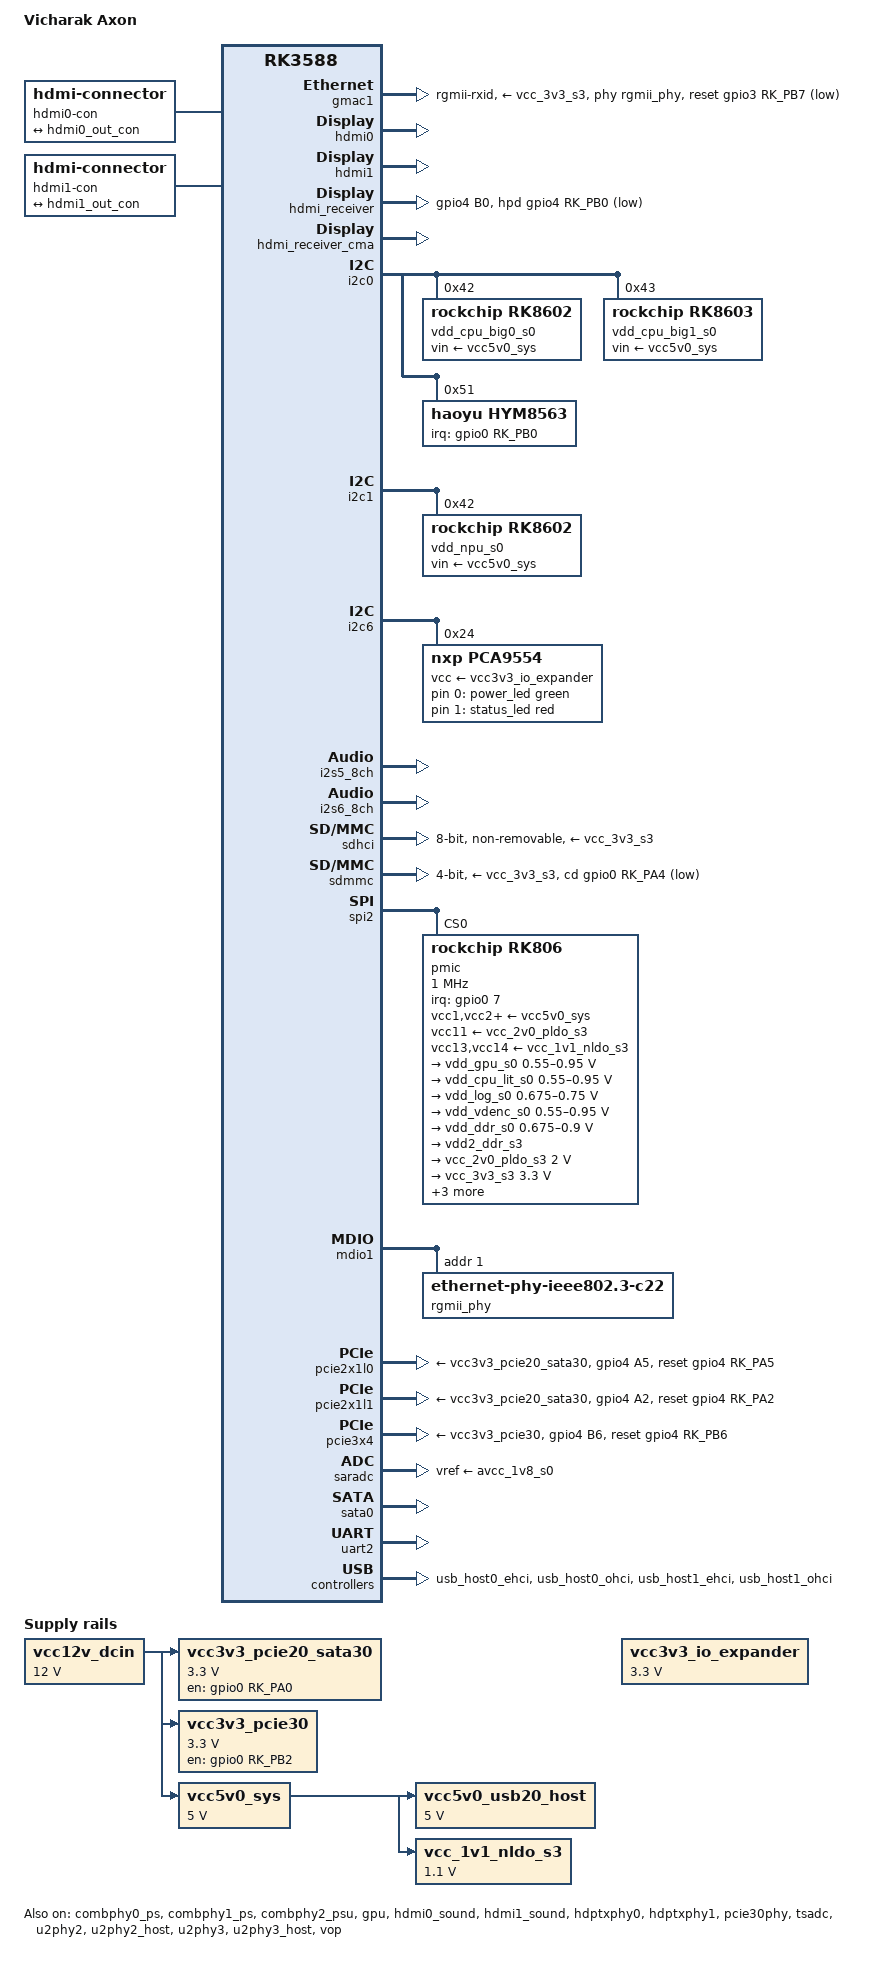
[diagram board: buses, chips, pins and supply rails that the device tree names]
// SPDX-License-Identifier: (GPL-2.0+ OR MIT)

/dts-v1/;

#include <dt-bindings/gpio/gpio.h>
#include <dt-bindings/input/linux-event-codes.h>
#include <dt-bindings/leds/common.h>
#include <dt-bindings/pinctrl/rockchip.h>
#include <dt-bindings/soc/rockchip,vop2.h>
#include "rk3588.dtsi"

/ {
	model = "Vicharak Axon";
	compatible = "vicharak,axon", "rockchip,rk3588";

	aliases {
		mmc0 = &sdmmc;
		mmc1 = &sdhci;
		serial2 = &uart2;
	};

	chosen {
		stdout-path = "serial2:1500000n8";
	};

	hdmi0-con {
		compatible = "hdmi-connector";
		type = "a";

		port {
			hdmi0_con_in: endpoint {
				remote-endpoint = <&hdmi0_out_con>;
			};
		};
	};

	hdmi1-con {
		compatible = "hdmi-connector";
		type = "a";

		port {
			hdmi1_con_in: endpoint {
				remote-endpoint = <&hdmi1_out_con>;
			};
		};
	};

	leds {
		compatible = "gpio-leds";

		power_led: led-0 {
			color = <LED_COLOR_ID_GREEN>;
			function = LED_FUNCTION_STATUS;
			gpios = <&pca9554 0 GPIO_ACTIVE_HIGH>;
			linux,default-trigger = "heartbeat";
		};

		status_led: led-1 {
			color = <LED_COLOR_ID_RED>;
			function = LED_FUNCTION_STATUS;
			gpios = <&pca9554 1 GPIO_ACTIVE_HIGH>;
			linux,default-trigger = "none";
		};
	};

	vcc12v_dcin: regulator-vcc12v-dcin {
		compatible = "regulator-fixed";
		regulator-name = "vcc12v_dcin";
		regulator-always-on;
		regulator-boot-on;
		regulator-min-microvolt = <12000000>;
		regulator-max-microvolt = <12000000>;
	};

	vcc3v3_io_expander: regulator-vcc3v3-io-expander {
		compatible = "regulator-fixed";
		regulator-name = "vcc3v3_io_expander";
		regulator-boot-on;
		regulator-always-on;
		regulator-min-microvolt = <3300000>;
		regulator-max-microvolt = <3300000>;
	};

	vcc3v3_pcie20_sata30: regulator-vcc3v3-pcie20-sata30 {
		compatible = "regulator-fixed";
		enable-active-high;
		gpios = <&gpio0 RK_PA0 GPIO_ACTIVE_HIGH>;
		regulator-name = "vcc3v3_pcie20_sata30";
		regulator-boot-on;
		regulator-always-on;
		regulator-max-microvolt = <3300000>;
		regulator-min-microvolt = <3300000>;
		vin-supply = <&vcc12v_dcin>;
	};

	vcc3v3_pcie30: regulator-vcc3v3-pcie30 {
		compatible = "regulator-fixed";
		enable-active-high;
		gpios = <&gpio0 RK_PB2 GPIO_ACTIVE_HIGH>;
		regulator-name = "vcc3v3_pcie30";
		regulator-boot-on;
		regulator-always-on;
		regulator-min-microvolt = <3300000>;
		regulator-max-microvolt = <3300000>;
		vin-supply = <&vcc12v_dcin>;
	};

	vcc5v0_sys: regulator-vcc5v0-sys {
		compatible = "regulator-fixed";
		regulator-name = "vcc5v0_sys";
		regulator-always-on;
		regulator-boot-on;
		regulator-min-microvolt = <5000000>;
		regulator-max-microvolt = <5000000>;
		vin-supply = <&vcc12v_dcin>;
	};

	vcc5v0_usb20_host: regulator-vcc5v0-usb20-host {
		compatible = "regulator-fixed";
		regulator-name = "vcc5v0_usb20_host";
		regulator-boot-on;
		regulator-always-on;
		regulator-min-microvolt = <5000000>;
		regulator-max-microvolt = <5000000>;
		vin-supply = <&vcc5v0_sys>;
	};

	vcc_1v1_nldo_s3: regulator-vcc-1v1-nldo-s3 {
		compatible = "regulator-fixed";
		regulator-name = "vcc_1v1_nldo_s3";
		regulator-always-on;
		regulator-boot-on;
		regulator-min-microvolt = <1100000>;
		regulator-max-microvolt = <1100000>;
		vin-supply = <&vcc5v0_sys>;
	};
};

&combphy0_ps {
	status = "okay";
};

&combphy1_ps {
	status = "okay";
};

&combphy2_psu {
	status = "okay";
};

&cpu_b0 {
	cpu-supply = <&vdd_cpu_big0_s0>;
};

&cpu_b1 {
	cpu-supply = <&vdd_cpu_big0_s0>;
};

&cpu_b2 {
	cpu-supply = <&vdd_cpu_big1_s0>;
};

&cpu_b3 {
	cpu-supply = <&vdd_cpu_big1_s0>;
};

&cpu_l0 {
	cpu-supply = <&vdd_cpu_lit_s0>;
};

&cpu_l1 {
	cpu-supply = <&vdd_cpu_lit_s0>;
};

&cpu_l2 {
	cpu-supply = <&vdd_cpu_lit_s0>;
};

&cpu_l3 {
	cpu-supply = <&vdd_cpu_lit_s0>;
};

&gmac1 {
	clock_in_out = "output";
	phy-handle = <&rgmii_phy>;
	phy-mode = "rgmii-rxid";
	phy-supply = <&vcc_3v3_s3>;
	pinctrl-0 = <&gmac1_rgmii_bus
				&gmac1_rgmii_clk
				&gmac1_rx_bus2
				&gmac1_tx_bus2
				&gmac1_miim>;
	pinctrl-names = "default";
	snps,reset-active-low;
	snps,reset-delays-us = <0 20000 100000>;
	snps,reset-gpio = <&gpio3 RK_PB7 GPIO_ACTIVE_LOW>;
	tx_delay = <0x43>;
	status = "okay";
};

&gpu {
	mali-supply = <&vdd_gpu_s0>;
	status = "okay";
};

&hdmi0 {
	status = "okay";
};

&hdmi0_in {
	hdmi0_in_vp0: endpoint {
		remote-endpoint = <&vp0_out_hdmi0>;
	};
};

&hdmi0_out {
	hdmi0_out_con: endpoint {
		remote-endpoint = <&hdmi0_con_in>;
	};
};

&hdmi0_sound {
	status = "okay";
};

&hdmi1 {
	status = "okay";
};

&hdmi1_in {
	hdmi1_in_vp1: endpoint {
		remote-endpoint = <&vp1_out_hdmi1>;
	};
};

&hdmi1_out {
	hdmi1_out_con: endpoint {
		remote-endpoint = <&hdmi1_con_in>;
	};
};

&hdmi1_sound {
	status = "okay";
};

&hdmi_receiver {
	hpd-gpios = <&gpio4 RK_PB0 GPIO_ACTIVE_LOW>;
	pinctrl-0 = <&hdmim1_rx_cec &hdmim1_rx_hpdin &hdmim1_rx_scl &hdmim1_rx_sda &hdmirx_hpd>;
	pinctrl-names = "default";
	status = "okay";
};

&hdmi_receiver_cma {
	status = "okay";
};

&hdptxphy0 {
	status = "okay";
};

&hdptxphy1 {
	status = "okay";
};

&i2c0 {
	pinctrl-0 = <&i2c0m2_xfer>;
	pinctrl-names = "default";
	status = "okay";

	vdd_cpu_big0_s0: regulator@42 {
		compatible = "rockchip,rk8602";
		reg = <0x42>;
		fcs,suspend-voltage-selector = <1>;
		regulator-name = "vdd_cpu_big0_s0";
		regulator-always-on;
		regulator-boot-on;
		regulator-max-microvolt = <1050000>;
		regulator-min-microvolt = <550000>;
		regulator-ramp-delay = <2300>;
		vin-supply = <&vcc5v0_sys>;

		regulator-state-mem {
			regulator-off-in-suspend;
		};
	};

	vdd_cpu_big1_s0: regulator@43 {
		compatible = "rockchip,rk8603", "rockchip,rk8602";
		reg = <0x43>;
		fcs,suspend-voltage-selector = <1>;
		regulator-name = "vdd_cpu_big1_s0";
		regulator-always-on;
		regulator-boot-on;
		regulator-max-microvolt = <1050000>;
		regulator-min-microvolt = <550000>;
		regulator-ramp-delay = <2300>;
		vin-supply = <&vcc5v0_sys>;

		regulator-state-mem {
			regulator-off-in-suspend;
		};
	};

	hym8563: rtc@51 {
		compatible = "haoyu,hym8563";
		reg = <0x51>;
		#clock-cells = <0>;
		clock-output-names = "hym8563";
		interrupt-parent = <&gpio0>;
		interrupts = <RK_PB0 IRQ_TYPE_LEVEL_LOW>;
		pinctrl-names = "default";
		pinctrl-0 = <&rtc_int>;
		wakeup-source;
	};
};

&i2c1 {
	pinctrl-names = "default";
	pinctrl-0 = <&i2c1m2_xfer>;
	status = "okay";

	vdd_npu_s0: regulator@42 {
		compatible = "rockchip,rk8602";
		reg = <0x42>;
		fcs,suspend-voltage-selector = <1>;
		regulator-name = "vdd_npu_s0";
		regulator-boot-on;
		regulator-enable-ramp-delay = <500>;
		regulator-min-microvolt = <550000>;
		regulator-max-microvolt = <950000>;
		regulator-ramp-delay = <2300>;
		vin-supply = <&vcc5v0_sys>;

		regulator-state-mem {
			regulator-off-in-suspend;
		};
	};
};

&i2c6 {
	pinctrl-names = "default";
	pinctrl-0 = <&i2c6m0_xfer>;
	status = "okay";

	pca9554: gpio@24 {
		compatible = "nxp,pca9554";
		reg = <0x24>;
		#gpio-cells = <2>;
		gpio-controller;
		vcc-supply = <&vcc3v3_io_expander>;
	};
};

&i2s5_8ch {
	status = "okay";
};

&i2s6_8ch {
	status = "okay";
};

&sdhci {
	bus-width = <8>;
	full-pwr-cycle-in-suspend;
	mmc-hs400-1_8v;
	mmc-hs400-enhanced-strobe;
	no-sd;
	no-sdio;
	non-removable;
	vmmc-supply = <&vcc_3v3_s3>;
	vqmmc-supply = <&vcc_1v8_s3>;
	status = "okay";
};

&sdmmc {
	bus-width = <4>;
	cap-mmc-highspeed;
	cap-sd-highspeed;
	cd-gpios = <&gpio0 RK_PA4 GPIO_ACTIVE_LOW>;
	disable-wp;
	max-frequency = <200000000>;
	no-mmc;
	no-sdio;
	sd-uhs-sdr104;
	vmmc-supply = <&vcc_3v3_s3>;
	vqmmc-supply = <&vccio_sd_s0>;
	status = "okay";
};

&spi2 {
	assigned-clock-rates = <200000000>;
	assigned-clocks = <&cru CLK_SPI2>;
	num-cs = <1>;
	pinctrl-0 = <&spi2m2_cs0 &spi2m2_pins>;
	pinctrl-names = "default";
	#address-cells = <1>;
	#size-cells = <0>;
	status = "okay";

	pmic@0 {
		compatible = "rockchip,rk806";
		reg = <0>;
		#gpio-cells = <2>;
		gpio-controller;
		interrupt-parent = <&gpio0>;
		interrupts = <7 IRQ_TYPE_LEVEL_LOW>;
		pinctrl-names = "default";
		pinctrl-0 = <&pmic_pins>, <&rk806_dvs1_null>,
			    <&rk806_dvs2_null>, <&rk806_dvs3_null>;
		spi-max-frequency = <1000000>;

		vcc1-supply = <&vcc5v0_sys>;
		vcc2-supply = <&vcc5v0_sys>;
		vcc3-supply = <&vcc5v0_sys>;
		vcc4-supply = <&vcc5v0_sys>;
		vcc5-supply = <&vcc5v0_sys>;
		vcc6-supply = <&vcc5v0_sys>;
		vcc7-supply = <&vcc5v0_sys>;
		vcc8-supply = <&vcc5v0_sys>;
		vcc9-supply = <&vcc5v0_sys>;
		vcc10-supply = <&vcc5v0_sys>;
		vcc11-supply = <&vcc_2v0_pldo_s3>;
		vcc12-supply = <&vcc5v0_sys>;
		vcc13-supply = <&vcc_1v1_nldo_s3>;
		vcc14-supply = <&vcc_1v1_nldo_s3>;
		vcca-supply = <&vcc5v0_sys>;

		rk806_dvs1_null: dvs1-null-pins {
			pins = "gpio_pwrctrl1";
			function = "pin_fun0";
		};

		rk806_dvs2_null: dvs2-null-pins {
			pins = "gpio_pwrctrl2";
			function = "pin_fun0";
		};

		rk806_dvs3_null: dvs3-null-pins {
			pins = "gpio_pwrctrl3";
			function = "pin_fun0";
		};

		regulators {
			vdd_gpu_s0: dcdc-reg1 {
				regulator-name = "vdd_gpu_s0";
				regulator-boot-on;
				regulator-enable-ramp-delay = <400>;
				regulator-min-microvolt = <550000>;
				regulator-max-microvolt = <950000>;
				regulator-ramp-delay = <12500>;

				regulator-state-mem {
					regulator-off-in-suspend;
				};
			};

			vdd_cpu_lit_s0: dcdc-reg2 {
				regulator-name = "vdd_cpu_lit_s0";
				regulator-always-on;
				regulator-boot-on;
				regulator-min-microvolt = <550000>;
				regulator-max-microvolt = <950000>;
				regulator-ramp-delay = <12500>;

				regulator-state-mem {
					regulator-off-in-suspend;
				};
			};

			vdd_log_s0: dcdc-reg3 {
				regulator-name = "vdd_log_s0";
				regulator-always-on;
				regulator-boot-on;
				regulator-min-microvolt = <675000>;
				regulator-max-microvolt = <750000>;
				regulator-ramp-delay = <12500>;

				regulator-state-mem {
					regulator-off-in-suspend;
				};
			};

			vdd_vdenc_s0: dcdc-reg4 {
				regulator-name = "vdd_vdenc_s0";
				regulator-always-on;
				regulator-boot-on;
				regulator-min-microvolt = <550000>;
				regulator-max-microvolt = <950000>;
				regulator-ramp-delay = <12500>;

				regulator-state-mem {
					regulator-off-in-suspend;
				};
			};

			vdd_ddr_s0: dcdc-reg5 {
				regulator-name = "vdd_ddr_s0";
				regulator-always-on;
				regulator-boot-on;
				regulator-min-microvolt = <675000>;
				regulator-max-microvolt = <900000>;
				regulator-ramp-delay = <12500>;

				regulator-state-mem {
					regulator-off-in-suspend;
				};
			};

			vdd2_ddr_s3: dcdc-reg6 {
				regulator-name = "vdd2_ddr_s3";
				regulator-always-on;
				regulator-boot-on;

				regulator-state-mem {
					regulator-on-in-suspend;
				};
			};

			vcc_2v0_pldo_s3: dcdc-reg7 {
				regulator-name = "vdd_2v0_pldo_s3";
				regulator-always-on;
				regulator-boot-on;
				regulator-min-microvolt = <2000000>;
				regulator-max-microvolt = <2000000>;

				regulator-state-mem {
					regulator-on-in-suspend;
				};
			};

			vcc_3v3_s3: dcdc-reg8 {
				regulator-name = "vcc_3v3_s3";
				regulator-always-on;
				regulator-boot-on;
				regulator-min-microvolt = <3300000>;
				regulator-max-microvolt = <3300000>;

				regulator-state-mem {
					regulator-on-in-suspend;
				};
			};

			vddq_ddr_s0: dcdc-reg9 {
				regulator-name = "vddq_ddr_s0";
				regulator-always-on;
				regulator-boot-on;

				regulator-state-mem {
					regulator-off-in-suspend;
				};
			};

			vcc_1v8_s3: dcdc-reg10 {
				regulator-name = "vcc_1v8_s3";
				regulator-always-on;
				regulator-boot-on;
				regulator-min-microvolt = <1800000>;
				regulator-max-microvolt = <1800000>;

				regulator-state-mem {
					regulator-on-in-suspend;
				};
			};

			avcc_1v8_s0: pldo-reg1 {
				regulator-name = "avcc_1v8_s0";
				regulator-always-on;
				regulator-boot-on;
				regulator-min-microvolt = <1800000>;
				regulator-max-microvolt = <1800000>;

				regulator-state-mem {
					regulator-off-in-suspend;
				};
			};

			vcc_1v8_s0: pldo-reg2 {
				regulator-name = "vcc_1v8_s0";
				regulator-always-on;
				regulator-boot-on;
				regulator-min-microvolt = <1800000>;
				regulator-max-microvolt = <1800000>;

				regulator-state-mem {
					regulator-off-in-suspend;
				};
			};

			avdd_1v2_s0: pldo-reg3 {
				regulator-name = "avdd_1v2_s0";
				regulator-always-on;
				regulator-boot-on;
				regulator-min-microvolt = <1200000>;
				regulator-max-microvolt = <1200000>;

				regulator-state-mem {
					regulator-off-in-suspend;
				};
			};

			vcc_3v3_s0: pldo-reg4 {
				regulator-name = "vcc_3v3_s0";
				regulator-always-on;
				regulator-boot-on;
				regulator-min-microvolt = <3300000>;
				regulator-max-microvolt = <3300000>;

				regulator-state-mem {
					regulator-off-in-suspend;
				};
			};

			vccio_sd_s0: pldo-reg5 {
				regulator-name = "vccio_sd_s0";
				regulator-always-on;
				regulator-boot-on;
				regulator-min-microvolt = <1800000>;
				regulator-max-microvolt = <3300000>;

				regulator-state-mem {
					regulator-off-in-suspend;
				};
			};

			pldo6_s3: pldo-reg6 {
				regulator-name = "pldo6_s3";
				regulator-always-on;
				regulator-boot-on;
				regulator-min-microvolt = <1800000>;
				regulator-max-microvolt = <1800000>;

				regulator-state-mem {
					regulator-on-in-suspend;
				};
			};

			vdd_0v75_s3: nldo-reg1 {
				regulator-name = "vdd_0v75_s3";
				regulator-always-on;
				regulator-boot-on;
				regulator-min-microvolt = <750000>;
				regulator-max-microvolt = <750000>;

				regulator-state-mem {
					regulator-on-in-suspend;
				};
			};

			vdd_ddr_pll_s0: nldo-reg2 {
				regulator-name = "vdd_ddr_pll_s0";
				regulator-always-on;
				regulator-boot-on;
				regulator-min-microvolt = <850000>;
				regulator-max-microvolt = <850000>;

				regulator-state-mem {
					regulator-off-in-suspend;
				};
			};

			avdd_0v75_s0: nldo-reg3 {
				regulator-name = "avdd_0v75_s0";
				regulator-always-on;
				regulator-boot-on;
				regulator-min-microvolt = <837500>;
				regulator-max-microvolt = <837500>;

				regulator-state-mem {
					regulator-off-in-suspend;
				};
			};

			vdd_0v85_s0: nldo-reg4 {
				regulator-name = "vdd_0v85_s0";
				regulator-always-on;
				regulator-boot-on;
				regulator-min-microvolt = <850000>;
				regulator-max-microvolt = <850000>;

				regulator-state-mem {
					regulator-off-in-suspend;
				};
			};

			vdd_0v75_s0: nldo-reg5 {
				regulator-name = "vdd_0v75_s0";
				regulator-always-on;
				regulator-boot-on;
				regulator-min-microvolt = <750000>;
				regulator-max-microvolt = <750000>;

				regulator-state-mem {
					regulator-off-in-suspend;
				};
			};
		};
	};
};

&mdio1 {
	rgmii_phy: phy@1 {
		compatible = "ethernet-phy-ieee802.3-c22";
		reg = <0x1>;
	};
};

&pcie2x1l0 {
	pinctrl-names = "default";
	pinctrl-0 = <&pcie2_0_rst>;
	reset-gpios = <&gpio4 RK_PA5 GPIO_ACTIVE_HIGH>;
	vpcie3v3-supply = <&vcc3v3_pcie20_sata30>;
	status = "okay";
};

&pcie2x1l1 {
	pinctrl-names = "default";
	pinctrl-0 = <&pcie2_1_rst>;
	reset-gpios = <&gpio4 RK_PA2 GPIO_ACTIVE_HIGH>;
	vpcie3v3-supply = <&vcc3v3_pcie20_sata30>;
	status = "okay";
};

&pcie30phy {
	status = "okay";
};

&pcie3x4 {
	pinctrl-names = "default";
	pinctrl-0 = <&pcie3_reset>;
	reset-gpios = <&gpio4 RK_PB6 GPIO_ACTIVE_HIGH>;
	vpcie3v3-supply = <&vcc3v3_pcie30>;
	status = "okay";
};

&pinctrl {
	hdmirx {
		hdmirx_hpd: hdmirx-5v-detection {
			rockchip,pins = <4 RK_PB0 RK_FUNC_GPIO &pcfg_pull_none>;
		};
	};

	hym8563 {
		rtc_int: rtc-int {
			rockchip,pins =
				<0 RK_PB0 RK_FUNC_GPIO &pcfg_pull_none>;
		};
	};

	pcie2 {
		pcie2_0_rst: pcie2-0-rst {
			rockchip,pins =
				<4 RK_PA5 RK_FUNC_GPIO &pcfg_pull_none>;
		};

		pcie2_1_rst: pcie2-1-rst {
			rockchip,pins =
				<4 RK_PA2 RK_FUNC_GPIO &pcfg_pull_none>;
		};
	};

	pcie3 {
		pcie3_reset: pcie3-reset {
			rockchip,pins =
				<4 RK_PB6 RK_FUNC_GPIO &pcfg_pull_none>;
		};
	};
};

&saradc {
	vref-supply = <&avcc_1v8_s0>;
	status = "okay";
};

&sata0 {
	status = "okay";
};

&tsadc {
	status = "okay";
};

&u2phy2 {
	status = "okay";
};

&u2phy2_host {
	phy-supply = <&vcc5v0_usb20_host>;
	status = "okay";
};

&u2phy3 {
	status = "okay";
};

&u2phy3_host {
	phy-supply = <&vcc5v0_usb20_host>;
	status = "okay";
};

&uart2 {
	pinctrl-names = "default";
	pinctrl-0 = <&uart2m0_xfer>;
	status = "okay";
};

&usb_host0_ehci {
	status = "okay";
};

&usb_host0_ohci {
	status = "okay";
};

&usb_host1_ehci {
	status = "okay";
};

&usb_host1_ohci {
	status = "okay";
};

&vop {
	status = "okay";
};

&vop_mmu {
	status = "okay";
};

&vp0 {
	vp0_out_hdmi0: endpoint@ROCKCHIP_VOP2_EP_HDMI0 {
		reg = <ROCKCHIP_VOP2_EP_HDMI0>;
		remote-endpoint = <&hdmi0_in_vp0>;
	};
};

&vp1 {
	vp1_out_hdmi1: endpoint@ROCKCHIP_VOP2_EP_HDMI1 {
		reg = <ROCKCHIP_VOP2_EP_HDMI1>;
		remote-endpoint = <&hdmi1_in_vp1>;
	};
};
